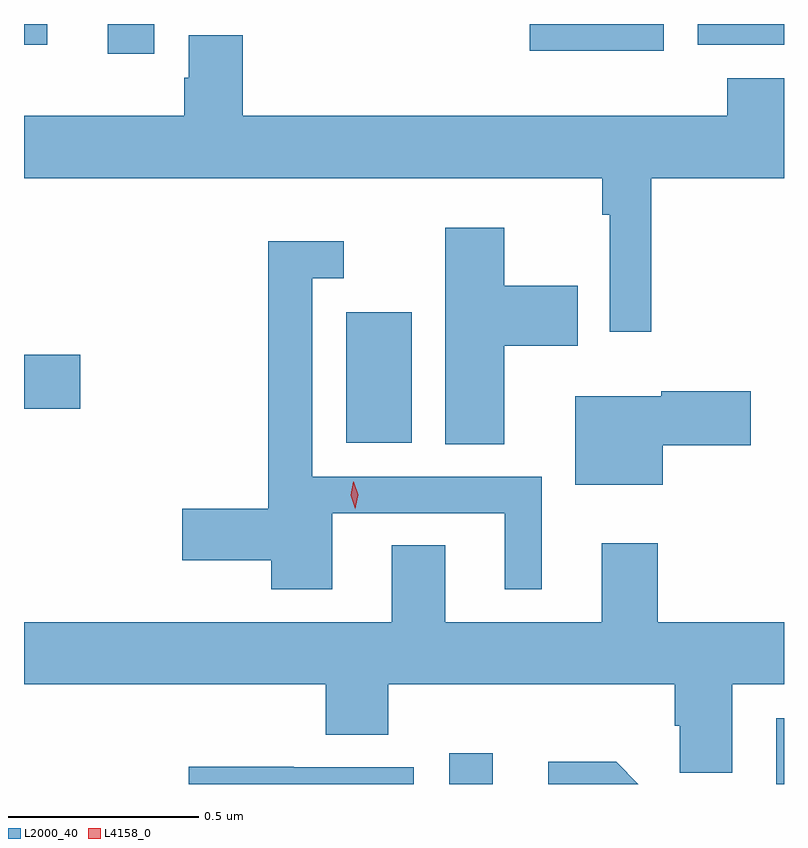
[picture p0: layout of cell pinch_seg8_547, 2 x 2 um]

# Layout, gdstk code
import gdstk
lib = gdstk.Library(unit=1e-6, precision=1e-09)
def R(c, l, rs):  # rectangles x0, y0, x1, y1
    for r in rs: c.add(gdstk.rectangle(r[:2], r[2:], *l))
def P(c, l, *ps):  # polygons
    for p in ps: c.add(gdstk.Polygon(p, *l))
L2000_40 = (2000, 40)
L4158_0 = (4158, 0)

pinch_seg8_547 = lib.new_cell('pinch_seg8_547')
R(pinch_seg8_547, L2000_40, [(152.052,1106.914,152.167,1106.995), (152.913,1106.914,152.933,1107.087), (151.781,1107.812,151.954,1108.156), (150.933,1107.902,151.081,1108.044), (151.154,1108.836,151.276,1108.914), (152.264,1108.844,152.617,1108.914), (150.933,1108.859,150.994,1108.914), (152.706,1108.86,152.933,1108.914)])
P(pinch_seg8_547, L2000_40, [(152.584,1108.508),(152.933,1108.508),(152.933,1108.771),(152.783,1108.771),(152.783,1108.672),(151.508,1108.672),(151.508,1108.884),(151.367,1108.884),(151.367,1108.773),(151.355,1108.773),(151.355,1108.672),(150.933,1108.672),(150.933,1108.508),(152.455,1108.508),(152.455,1108.412),(152.475,1108.412),(152.475,1108.104),(152.584,1108.104)],
  [(152.197,1108.067),(152.39,1108.067),(152.39,1108.225),(152.197,1108.225),(152.197,1108.378),(152.042,1108.378),(152.042,1107.808),(152.197,1107.808)],
  [(151.744,1107.627),(152.198,1107.627),(152.198,1107.426),(152.296,1107.426),(152.296,1107.723),(151.692,1107.723),(151.692,1108.245),(151.774,1108.245),(151.774,1108.342),(151.576,1108.342),(151.576,1107.638),(151.35,1107.638),(151.35,1107.503),(151.583,1107.503),(151.583,1107.426),(151.744,1107.426)],
  [(152.614,1107.805),(152.845,1107.805),(152.845,1107.947),(152.61,1107.947),(152.61,1107.934),(152.384,1107.934),(152.384,1107.701),(152.614,1107.701)],
  [(152.797,1107.176),(152.933,1107.176),(152.933,1107.34),(152.601,1107.34),(152.601,1107.547),(152.453,1107.547),(152.453,1107.34),(152.041,1107.34),(152.041,1107.542),(151.901,1107.542),(151.901,1107.34),(150.933,1107.34),(150.933,1107.176),(151.727,1107.176),(151.727,1107.043),(151.892,1107.043),(151.892,1107.176),(152.645,1107.176),(152.645,1107.067),(152.658,1107.067),(152.658,1106.944),(152.797,1106.944)],
  [(152.491,1106.972),(152.313,1106.972),(152.313,1106.914),(152.549,1106.914)],
  [(151.959,1106.958),(151.643,1106.958),(151.643,1106.96),(151.366,1106.96),(151.366,1106.914),(151.959,1106.914)])
P(pinch_seg8_547, L4158_0, [(151.805,1107.638),(151.805,1107.639),(151.793,1107.674),(151.8,1107.71),(151.801,1107.71),(151.801,1107.71),(151.813,1107.675),(151.805,1107.639)])

lib.write_gds('pinch_seg8_547.gds')
